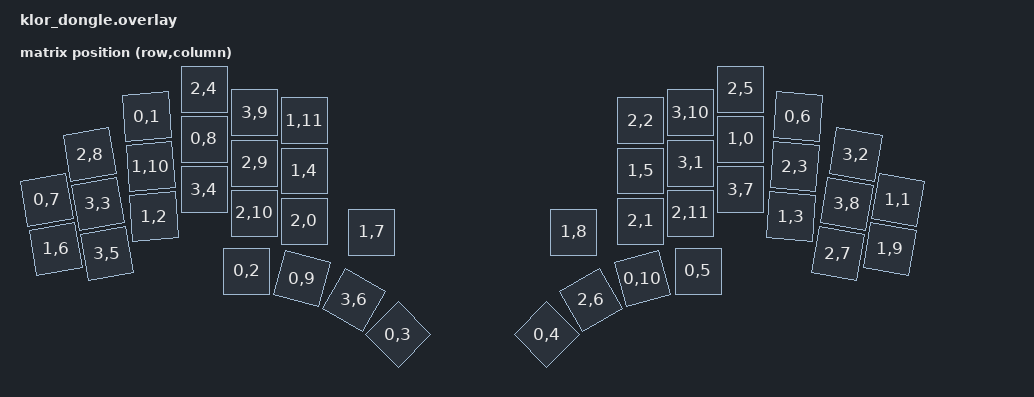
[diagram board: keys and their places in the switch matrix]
#include <dt-bindings/zmk/matrix_transform.h>
#include <physical_layouts.dtsi>

/ {
    chosen {
        zmk,kscan = &mock_kscan;
        zmk,physical-layout = &physical_layout0;
    };

    mock_kscan: kscan {
        compatible = "zmk,kscan-mock";
        columns = <0>;
        rows = <0>;
        events = <>;
    };

    /* Заглушки энкодеров */
    left_encoder: encoder_left {
        compatible = "alps,ec11";
        status = "disabled";
    };

    right_encoder: encoder_right {
        compatible = "alps,ec11";
        status = "disabled";
    };

    /* Обязательный узел для подписки донгла на события энкодеров */
    sensors: sensors {
        compatible = "zmk,keymap-sensors";
        status = "okay";
        sensors = <&left_encoder &right_encoder>;
        triggers-per-rotation = <24>;
    };

    physical_layout0: physical_layout_0 {
        compatible = "zmk,physical-layout";
        status = "okay";
        display-name = "Klor Dongle";

        kscan = <&mock_kscan>;
        transform = <&default_transform>;

        keys  //                     w   h    x    y     rot    rx    ry
            = <&key_physical_attrs 100 100  201   55  (-400)   251   105>
            , <&key_physical_attrs 100 100  400  364       0     0     0>
            , <&key_physical_attrs 100 100  703  491 (-4500)   753   541>
            , <&key_physical_attrs 100 100 1000  491    4500  1050   541>
            , <&key_physical_attrs 100 100 1303  364       0     0     0>
            , <&key_physical_attrs 100 100 1503   55     400  1553   105>
            , <&key_physical_attrs 100 100    0  222 (-1000)    50   272>
            , <&key_physical_attrs 100 100  315  100       0     0     0>
            , <&key_physical_attrs 100 100  511  379    1500   561   429>
            , <&key_physical_attrs 100 100 1192  379 (-1500)  1242   429>
            , <&key_physical_attrs 100 100 1388  100       0     0     0>
            , <&key_physical_attrs 100 100 1703  222    1000  1753   272>
            , <&key_physical_attrs 100 100  215  255  (-400)   265   305>
            , <&key_physical_attrs 100 100 1489  255     400  1539   305>
            , <&key_physical_attrs 100 100  515  164       0     0     0>
            , <&key_physical_attrs 100 100 1188  164       0     0     0>
            , <&key_physical_attrs 100 100   18  320 (-1000)    68   370>
            , <&key_physical_attrs 100 100  650  286       0     0     0>
            , <&key_physical_attrs 100 100 1054  286       0     0     0>
            , <&key_physical_attrs 100 100 1686  320    1000  1736   370>
            , <&key_physical_attrs 100 100  208  155  (-400)   258   205>
            , <&key_physical_attrs 100 100  515   63       0     0     0>
            , <&key_physical_attrs 100 100  515  264       0     0     0>
            , <&key_physical_attrs 100 100 1188  264       0     0     0>
            , <&key_physical_attrs 100 100 1188   63       0     0     0>
            , <&key_physical_attrs 100 100 1496  155     400  1546   205>
            , <&key_physical_attrs 100 100  315    0       0     0     0>
            , <&key_physical_attrs 100 100 1388    0       0     0     0>
            , <&key_physical_attrs 100 100  121  329 (-1000)   171   379>
            , <&key_physical_attrs 100 100  614  422    3000   664   472>
            , <&key_physical_attrs 100 100 1089  422 (-3000)  1139   472>
            , <&key_physical_attrs 100 100 1583  329    1000  1633   379>
            , <&key_physical_attrs 100 100   86  131 (-1000)   136   181>
            , <&key_physical_attrs 100 100  416  148       0     0     0>
            , <&key_physical_attrs 100 100  416  248       0     0     0>
            , <&key_physical_attrs 100 100 1288  248       0     0     0>
            , <&key_physical_attrs 100 100 1288  148       0     0     0>
            , <&key_physical_attrs 100 100 1618  131    1000  1668   181>
            , <&key_physical_attrs 100 100  103  230 (-1000)   153   280>
            , <&key_physical_attrs 100 100  315  201       0     0     0>
            , <&key_physical_attrs 100 100 1388  201       0     0     0>
            , <&key_physical_attrs 100 100 1600  230    1000  1650   280>
            , <&key_physical_attrs 100 100  416   47       0     0     0>
            , <&key_physical_attrs 100 100 1288   47       0     0     0>
            ;
    };

    default_transform: keymap_transform_0 {
        compatible = "zmk,matrix-transform";
        columns = <12>;
        rows = <4>;
        map = <
RC(0,1) RC(0,2) RC(0,3) RC(0,4) RC(0,5)                 RC(0,6) RC(0,7) RC(0,8) RC(0,9) RC(0,10)
RC(1,0) RC(1,1) RC(1,2) RC(1,3) RC(1,4) RC(1,5)                 RC(1,6) RC(1,7) RC(1,8) RC(1,9) RC(1,10) RC(1,11)
RC(2,0) RC(2,1) RC(2,2) RC(2,3) RC(2,4) RC(2,5) RC(3,5) RC(3,6) RC(2,6) RC(2,7) RC(2,8) RC(2,9) RC(2,10) RC(2,11)
                            RC(3,1) RC(3,2) RC(3,3) RC(3,4) RC(3,7) RC(3,8) RC(3,9) RC(3,10)
        >;
    };
};
